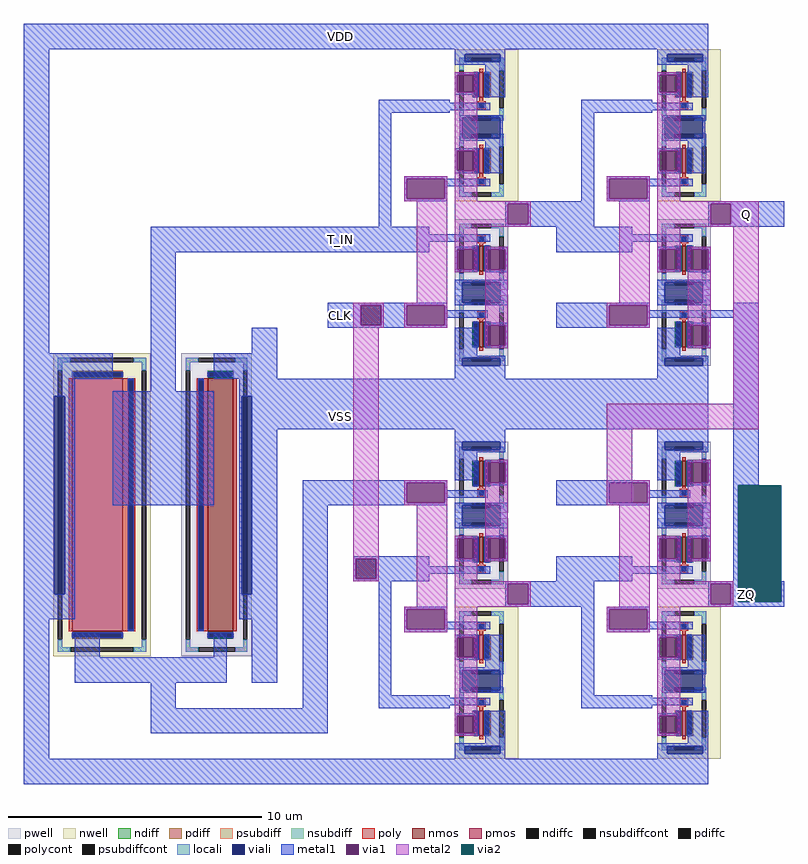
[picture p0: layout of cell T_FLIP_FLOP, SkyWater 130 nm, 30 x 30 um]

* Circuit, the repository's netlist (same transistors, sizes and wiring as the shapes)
** sch_path: /home/ttuser/tt_analog_z2a_2/xschem/T_FLIP_FLOP.sch
.subckt T_FLIP_FLOP Q T_IN CLK ZQ VDD VSS
*.PININFO VDD:B VSS:B CLK:I ZQ:O Q:O T_IN:I
x2 ZQ VDD out1 VSS Q NAND2
x4 Q VDD out2 VSS ZQ NAND2
x1 out1 VDD CLK VSS net1 NAND2
x3 out2 VDD T_IN VSS CLK NAND2
x24 VDD VSS net1 T_IN inv_x4
.ends

* expanding   symbol:  NAND2.sym # of pins=5
** sym_path: /home/ttuser/tt_analog_z2a_2/xschem/NAND2.sym
** sch_path: /home/ttuser/tt_analog_z2a_2/xschem/NAND2.sch
.subckt NAND2 NAND_OUT VDD NAND_IN_1 VSS NAND_IN_0
*.PININFO NAND_IN_0:I NAND_OUT:O VDD:B VSS:B NAND_IN_1:I
XM0 net1 NAND_IN_0 VSS VSS sky130_fd_pr__nfet_01v8 L=0.15 W=1 nf=1 ad='int((nf+1)/2) * W/nf * 0.29' as='int((nf+2)/2) * W/nf * 0.29'
+ pd='2*int((nf+1)/2) * (W/nf + 0.29)' ps='2*int((nf+2)/2) * (W/nf + 0.29)' nrd='0.29 / W' nrs='0.29 / W' sa=0 sb=0 sd=0 mult=1 m=1
XM1 NAND_OUT NAND_IN_1 net1 VSS sky130_fd_pr__nfet_01v8 L=0.15 W=1 nf=1 ad='int((nf+1)/2) * W/nf * 0.29' as='int((nf+2)/2) * W/nf * 0.29'
+ pd='2*int((nf+1)/2) * (W/nf + 0.29)' ps='2*int((nf+2)/2) * (W/nf + 0.29)' nrd='0.29 / W' nrs='0.29 / W' sa=0 sb=0 sd=0 mult=1 m=1
XM12 NAND_OUT NAND_IN_0 VDD VDD sky130_fd_pr__pfet_01v8 L=0.15 W=1 nf=1 ad='int((nf+1)/2) * W/nf * 0.29' as='int((nf+2)/2) * W/nf * 0.29'
+ pd='2*int((nf+1)/2) * (W/nf + 0.29)' ps='2*int((nf+2)/2) * (W/nf + 0.29)' nrd='0.29 / W' nrs='0.29 / W' sa=0 sb=0 sd=0 mult=1 m=1
XM13 NAND_OUT NAND_IN_1 VDD VDD sky130_fd_pr__pfet_01v8 L=0.15 W=1 nf=1 ad='int((nf+1)/2) * W/nf * 0.29' as='int((nf+2)/2) * W/nf * 0.29'
+ pd='2*int((nf+1)/2) * (W/nf + 0.29)' ps='2*int((nf+2)/2) * (W/nf + 0.29)' nrd='0.29 / W' nrs='0.29 / W' sa=0 sb=0 sd=0 mult=1 m=1
.ends


* expanding   symbol:  inv_x4.sym # of pins=4
** sym_path: /home/ttuser/tt_analog_z2a_2/xschem/inv_x4.sym
** sch_path: /home/ttuser/tt_analog_z2a_2/xschem/inv_x4.sch
.subckt inv_x4 VDD VSS INV_OUT INV_IN
*.PININFO INV_IN:I INV_OUT:O VDD:B VSS:B
XM3 INV_OUT INV_IN VDD VDD sky130_fd_pr__pfet_01v8 L=10 W=2 nf=1 ad='int((nf+1)/2) * W/nf * 0.29' as='int((nf+2)/2) * W/nf * 0.29'
+ pd='2*int((nf+1)/2) * (W/nf + 0.29)' ps='2*int((nf+2)/2) * (W/nf + 0.29)' nrd='0.29 / W' nrs='0.29 / W' sa=0 sb=0 sd=0 mult=1 m=1
XM5 INV_OUT INV_IN VSS VSS sky130_fd_pr__nfet_01v8 L=10 W=1 nf=1 ad='int((nf+1)/2) * W/nf * 0.29' as='int((nf+2)/2) * W/nf * 0.29'
+ pd='2*int((nf+1)/2) * (W/nf + 0.29)' ps='2*int((nf+2)/2) * (W/nf + 0.29)' nrd='0.29 / W' nrs='0.29 / W' sa=0 sb=0 sd=0 mult=1 m=1
.ends

.end

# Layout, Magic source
magic
tech sky130A
magscale 1 2
<< metal1 >>
rect 800 1800 5400 2000
rect 800 -1000 1000 1800
rect 4800 400 5200 600
rect 6400 400 6800 600
rect 1800 200 3400 400
rect 1800 -400 2000 200
rect 3200 -400 3400 -200
rect 6400 -260 6600 -200
rect 6040 -320 6600 -260
rect 1800 -800 2000 -600
rect 2600 -1200 3400 -800
rect 4600 -1200 5800 -800
rect 3000 -1800 3400 -1600
rect 6400 -1640 6600 -320
rect 800 -3800 1000 -3200
rect 1800 -3400 2000 -3000
rect 3000 -3400 3200 -1800
rect 4800 -2600 5200 -2400
rect 6400 -2560 6440 -1640
rect 6780 -2560 6800 -2400
rect 6400 -2600 6800 -2560
rect 1800 -3600 3200 -3400
rect 800 -4000 3400 -3800
rect 4000 -4000 6000 -3800
<< via1 >>
rect 3460 -380 3620 -220
rect 3420 -2380 3580 -2220
rect 6440 -2560 6780 -1640
<< metal2 >>
rect 3400 -220 3640 -200
rect 3400 -380 3460 -220
rect 3620 -380 3640 -220
rect 3400 -400 3640 -380
rect 3400 -2220 3600 -400
rect 6400 -1000 6600 600
rect 5400 -1200 6600 -1000
rect 5400 -1800 5600 -1200
rect 3400 -2380 3420 -2220
rect 3580 -2380 3600 -2220
rect 3400 -2400 3600 -2380
<< via2 >>
rect 6440 -2560 6780 -1640
use NAND2  x1
transform 1 0 3600 0 -1 -2200
box -200 -1200 1200 1800
use NAND2  x2
transform 1 0 5200 0 -1 -2200
box -200 -1200 1200 1800
use NAND2  x3
transform 1 0 3600 0 1 200
box -200 -1200 1200 1800
use NAND2  x4
transform 1 0 5200 0 1 200
box -200 -1200 1200 1800
use inv_x4  x24 ~/tt_analog_z2a_2/mag
transform 0 -1 1600 -1 0 400
box 800 -1200 3600 800
<< labels >>
flabel metal1 3200 -1200 3400 -1000 0 FreeSans 256 0 0 0 VSS
port 5 nsew
flabel metal1 3200 1800 3400 2000 0 FreeSans 256 0 0 0 VDD
port 4 nsew
flabel metal1 3200 200 3400 400 0 FreeSans 256 0 0 0 T_IN
port 1 nsew
flabel metal1 3200 -400 3400 -200 0 FreeSans 256 0 0 0 CLK
port 2 nsew
flabel metal1 6400 400 6600 600 0 FreeSans 256 0 0 0 Q
port 0 nsew
flabel metal1 6400 -2600 6600 -2400 0 FreeSans 256 0 0 0 ZQ
port 3 nsew
<< end >>

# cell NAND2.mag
magic
tech sky130A
magscale 1 2
<< nwell >>
rect 600 400 1100 1600
<< viali >>
rect 680 1500 960 1560
rect 660 900 960 1060
rect 660 -400 960 -240
rect 660 -900 960 -840
<< metal1 >>
rect -200 1600 1000 1800
rect 600 1560 1000 1600
rect 600 1500 680 1560
rect 960 1500 1000 1560
rect 600 1480 1000 1500
rect 600 1400 780 1420
rect 600 1260 620 1400
rect 760 1260 780 1400
rect 600 1240 780 1260
rect 840 1220 1000 1480
rect 0 1180 560 1200
rect 0 1120 880 1180
rect 0 1100 560 1120
rect 0 200 100 1100
rect 640 1060 980 1080
rect 640 900 660 1060
rect 960 900 980 1060
rect 640 880 980 900
rect 600 800 780 820
rect 600 640 620 800
rect 760 640 780 800
rect 600 620 780 640
rect 840 620 980 880
rect 200 580 540 600
rect 200 420 220 580
rect 520 520 880 580
rect 520 420 540 520
rect 200 400 540 420
rect 1000 380 1200 400
rect 1000 220 1020 380
rect 1180 220 1200 380
rect 1000 200 1200 220
rect -200 140 400 200
rect -200 80 880 140
rect -200 0 400 80
rect 600 20 780 40
rect 600 -140 620 20
rect 760 -140 780 20
rect 600 -160 780 -140
rect 840 20 1020 40
rect 840 -140 860 20
rect 1000 -140 1020 20
rect 840 -160 1020 -140
rect 600 -240 1020 -220
rect 600 -400 660 -240
rect 960 -400 1020 -240
rect -200 -420 540 -400
rect 600 -420 1020 -400
rect -200 -580 220 -420
rect 520 -460 540 -420
rect 520 -520 860 -460
rect 520 -580 540 -520
rect -200 -600 540 -580
rect 840 -580 1020 -560
rect 600 -820 780 -600
rect 840 -740 860 -580
rect 1000 -740 1020 -580
rect 840 -760 1020 -740
rect 600 -840 1000 -820
rect 600 -900 660 -840
rect 960 -900 1000 -840
rect 600 -1000 1000 -900
rect -200 -1200 1000 -1000
<< via1 >>
rect 620 1260 760 1400
rect 620 640 760 800
rect 220 420 520 580
rect 1020 220 1180 380
rect 620 -140 760 20
rect 860 -140 1000 20
rect 220 -580 520 -420
rect 860 -740 1000 -580
<< metal2 >>
rect 600 1400 780 1420
rect 600 1260 620 1400
rect 760 1260 780 1400
rect 600 800 780 1260
rect 600 640 620 800
rect 760 640 780 800
rect 200 580 540 600
rect 200 420 220 580
rect 520 420 540 580
rect 200 400 540 420
rect 300 -400 540 400
rect 600 400 780 640
rect 600 380 1200 400
rect 600 220 1020 380
rect 1180 220 1200 380
rect 600 200 1200 220
rect 600 20 780 200
rect 600 -140 620 20
rect 760 -140 780 20
rect 600 -160 780 -140
rect 840 20 1020 40
rect 840 -140 860 20
rect 1000 -140 1020 20
rect 200 -420 540 -400
rect 200 -580 220 -420
rect 520 -580 540 -420
rect 200 -600 540 -580
rect 840 -580 1020 -140
rect 840 -740 860 -580
rect 1000 -740 1020 -580
rect 840 -760 1020 -740
use sky130_fd_pr__nfet_01v8_64Z3AY  sky130_fd_pr__nfet_01v8_64Z3AY_0 ~/tt_analog_z2a_2/mag
transform 1 0 811 0 1 -21
box -211 -279 211 279
use sky130_fd_pr__pfet_01v8_LGS3BL  sky130_fd_pr__pfet_01v8_LGS3BL_0 ~/tt_analog_z2a_2/mag
transform 1 0 811 0 1 1284
box -211 -284 211 284
use sky130_fd_pr__nfet_01v8_64Z3AY  XM0
transform 1 0 811 0 1 -621
box -211 -279 211 279
use sky130_fd_pr__pfet_01v8_LGS3BL  XM12
transform 1 0 811 0 1 684
box -211 -284 211 284
<< labels >>
flabel metal1 400 -1200 600 -1000 0 FreeSans 256 0 0 0 VSS
port 3 nsew
flabel metal1 400 1600 600 1800 0 FreeSans 256 0 0 0 VDD
port 1 nsew
flabel metal1 200 -600 400 -400 0 FreeSans 256 0 0 0 NAND_IN_0
port 4 nsew
flabel metal1 1000 200 1200 400 0 FreeSans 256 0 0 0 NAND_OUT
port 0 nsew
flabel metal1 200 0 400 200 0 FreeSans 256 0 0 0 NAND_IN_1
port 2 nsew
<< end >>

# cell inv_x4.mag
magic
tech sky130A
magscale 1 2
<< viali >>
rect 1340 480 2900 560
rect 1340 -1000 2900 -920
<< metal1 >>
rect 800 600 3600 800
rect 1000 560 3100 600
rect 1000 480 1340 560
rect 2900 480 3100 560
rect 1000 400 3100 480
rect 1000 100 1200 400
rect 3200 200 3600 400
rect 1300 -200 2200 100
rect 800 -400 2200 -200
rect 1300 -700 2200 -400
rect 3400 -700 3600 200
rect 1000 -900 1200 -700
rect 3200 -800 3600 -700
rect 1000 -920 3100 -900
rect 1000 -1000 1340 -920
rect 2900 -1000 3100 -920
rect 800 -1200 3600 -1000
use sky130_fd_pr__pfet_01v8_P6BKAN  sky130_fd_pr__pfet_01v8_P6BKAN_0
transform 1 0 2196 0 1 184
box -1196 -384 1196 384
use sky130_fd_pr__nfet_01v8_QXQT3M  XM5
transform 1 0 2196 0 1 -721
box -1196 -279 1196 279
<< labels >>
flabel metal1 800 -400 1000 -200 0 FreeSans 256 0 0 0 INV_IN
port 3 nsew
flabel metal1 800 -1200 1000 -1000 0 FreeSans 256 0 0 0 VSS
port 1 nsew
flabel metal1 800 600 1000 800 0 FreeSans 256 0 0 0 VDD
port 0 nsew
flabel metal1 3400 -400 3600 -200 0 FreeSans 256 0 0 0 INV_OUT
port 2 nsew
<< end >>

# cell sky130_fd_pr__pfet_01v8_P6BKAN: kit device sky130_fd_pr__pfet_01v8, w 2.0 l 10.0 m 1 nf 1 diffcov 100 polycov 100 guard 1 glc 1 grc 1 gtc 1 gbc 1 tbcov 100 rlcov 100 topc 0 botc 1 poverlap 0 doverlap 1 lmin 0.15 wmin 0.42 compatible {sky130_fd_pr__pfet_01v8 sky130_fd_pr__pfet_01v8_lvt sky130_fd_pr__pfet_01v8_hvt sky130_fd_pr__pfet_g5v0d10v5} full_metal 1 viasrc 100 viadrn 100 viagate 100 viagb 0 viagr 0 viagl 0 viagt 0

# cell sky130_fd_pr__nfet_01v8_QXQT3M: kit device sky130_fd_pr__nfet_01v8, w 1.0 l 10.0 m 1 nf 1 diffcov 100 polycov 100 guard 1 glc 1 grc 1 gtc 1 gbc 1 tbcov 100 rlcov 100 topc 1 botc 0 poverlap 0 doverlap 1 lmin 0.15 wmin 0.42 compatible {sky130_fd_pr__nfet_01v8 sky130_fd_pr__nfet_01v8_lvt sky130_fd_bs_flash__special_sonosfet_star sky130_fd_pr__nfet_g5v0d10v5 sky130_fd_pr__nfet_05v0_nvt sky130_fd_pr__nfet_03v3_nvt} full_metal 1 viasrc 100 viadrn 100 viagate 100 viagb 0 viagr 0 viagl 0 viagt 0

# cell sky130_fd_pr__nfet_01v8_64Z3AY: kit device sky130_fd_pr__nfet_01v8, w 1.0 l 0.15 m 1 nf 1 diffcov 100 polycov 100 guard 1 glc 1 grc 1 gtc 1 gbc 1 tbcov 100 rlcov 100 topc 1 botc 0 poverlap 0 doverlap 1 lmin 0.15 wmin 0.42 compatible {sky130_fd_pr__nfet_01v8 sky130_fd_pr__nfet_01v8_lvt sky130_fd_bs_flash__special_sonosfet_star sky130_fd_pr__nfet_g5v0d10v5 sky130_fd_pr__nfet_05v0_nvt sky130_fd_pr__nfet_03v3_nvt} full_metal 1 viasrc 100 viadrn 100 viagate 100 viagb 0 viagr 0 viagl 0 viagt 0

# cell sky130_fd_pr__pfet_01v8_LGS3BL: kit device sky130_fd_pr__pfet_01v8, w 1.0 l 0.15 m 1 nf 1 diffcov 100 polycov 100 guard 1 glc 1 grc 1 gtc 1 gbc 1 tbcov 100 rlcov 100 topc 0 botc 1 poverlap 0 doverlap 1 lmin 0.15 wmin 0.42 compatible {sky130_fd_pr__pfet_01v8 sky130_fd_pr__pfet_01v8_lvt sky130_fd_pr__pfet_01v8_hvt sky130_fd_pr__pfet_g5v0d10v5} full_metal 1 viasrc 100 viadrn 100 viagate 100 viagb 0 viagr 0 viagl 0 viagt 0
